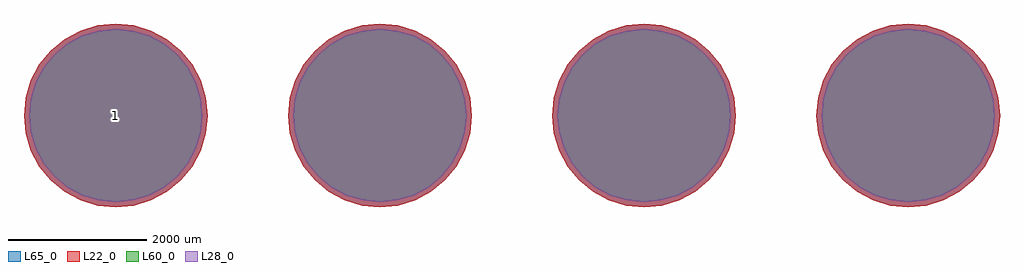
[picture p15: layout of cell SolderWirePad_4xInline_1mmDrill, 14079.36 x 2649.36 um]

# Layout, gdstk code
import gdstk
lib = gdstk.Library(unit=1e-6, precision=1e-09)
def P(c, l, *ps):  # polygons
    for p in ps: c.add(gdstk.Polygon(p, *l))
L22_0 = (22, 0)
L28_0 = (28, 0)
L60_0 = (60, 0)
L65_0 = (65, 0)

solderwirepad_4xinline_1 = lib.new_cell('SolderWirePad_4xInline_1mmDrill')
P(solderwirepad_4xinline_1, L22_0, [(7039.68,0),(7014.227,258.432),(6938.845,506.933),(6816.431,735.953),(6651.69,936.69),(6450.953,1101.431),(6221.933,1223.845),(5973.432,1299.227),(5715,1324.68),(5456.568,1299.227),(5208.067,1223.845),(4979.047,1101.431),(4778.31,936.69),(4613.569,735.953),(4491.155,506.933),(4415.773,258.432),(4390.32,0),(4415.773,-258.432),(4491.155,-506.933),(4613.569,-735.953),(4778.31,-936.69),(4979.047,-1101.431),(5208.067,-1223.845),(5456.568,-1299.227),(5715,-1324.68),(5973.432,-1299.227),(6221.933,-1223.845),(6450.953,-1101.431),(6651.69,-936.69),(6816.431,-735.953),(6938.845,-506.933),(7014.227,-258.432)],
  [(3229.68,0),(3204.227,258.432),(3128.845,506.933),(3006.431,735.953),(2841.69,936.69),(2640.953,1101.431),(2411.933,1223.845),(2163.432,1299.227),(1905,1324.68),(1646.568,1299.227),(1398.067,1223.845),(1169.047,1101.431),(968.31,936.69),(803.569,735.953),(681.155,506.933),(605.773,258.432),(580.32,0),(605.773,-258.432),(681.155,-506.933),(803.569,-735.953),(968.31,-936.69),(1169.047,-1101.431),(1398.067,-1223.845),(1646.568,-1299.227),(1905,-1324.68),(2163.432,-1299.227),(2411.933,-1223.845),(2640.953,-1101.431),(2841.69,-936.69),(3006.431,-735.953),(3128.845,-506.933),(3204.227,-258.432)],
  [(-580.32,0),(-605.773,258.432),(-681.155,506.933),(-803.569,735.953),(-968.31,936.69),(-1169.047,1101.431),(-1398.067,1223.845),(-1646.568,1299.227),(-1905,1324.68),(-2163.432,1299.227),(-2411.933,1223.845),(-2640.953,1101.431),(-2841.69,936.69),(-3006.431,735.953),(-3128.845,506.933),(-3204.227,258.432),(-3229.68,0),(-3204.227,-258.432),(-3128.845,-506.933),(-3006.431,-735.953),(-2841.69,-936.69),(-2640.953,-1101.431),(-2411.933,-1223.845),(-2163.432,-1299.227),(-1905,-1324.68),(-1646.568,-1299.227),(-1398.067,-1223.845),(-1169.047,-1101.431),(-968.31,-936.69),(-803.569,-735.953),(-681.155,-506.933),(-605.773,-258.432)],
  [(-4390.32,0),(-4415.773,258.432),(-4491.155,506.933),(-4613.569,735.953),(-4778.31,936.69),(-4979.047,1101.431),(-5208.067,1223.845),(-5456.568,1299.227),(-5715,1324.68),(-5973.432,1299.227),(-6221.933,1223.845),(-6450.953,1101.431),(-6651.69,936.69),(-6816.431,735.953),(-6938.845,506.933),(-7014.227,258.432),(-7039.68,0),(-7014.227,-258.432),(-6938.845,-506.933),(-6816.431,-735.953),(-6651.69,-936.69),(-6450.953,-1101.431),(-6221.933,-1223.845),(-5973.432,-1299.227),(-5715,-1324.68),(-5456.568,-1299.227),(-5208.067,-1223.845),(-4979.047,-1101.431),(-4778.31,-936.69),(-4613.569,-735.953),(-4491.155,-506.933),(-4415.773,-258.432)])
P(solderwirepad_4xinline_1, L28_0, [(6964.68,0),(6940.668,243.8),(6869.554,478.232),(6754.071,694.285),(6598.657,883.657),(6409.285,1039.071),(6193.232,1154.554),(5958.8,1225.668),(5715,1249.68),(5471.2,1225.668),(5236.768,1154.554),(5020.715,1039.071),(4831.343,883.657),(4675.929,694.285),(4560.446,478.232),(4489.332,243.8),(4465.32,0),(4489.332,-243.8),(4560.446,-478.232),(4675.929,-694.285),(4831.343,-883.657),(5020.715,-1039.071),(5236.768,-1154.554),(5471.2,-1225.668),(5715,-1249.68),(5958.8,-1225.668),(6193.232,-1154.554),(6409.285,-1039.071),(6598.657,-883.657),(6754.071,-694.285),(6869.554,-478.232),(6940.668,-243.8)],
  [(3154.68,0),(3130.668,243.8),(3059.554,478.232),(2944.071,694.285),(2788.657,883.657),(2599.285,1039.071),(2383.232,1154.554),(2148.8,1225.668),(1905,1249.68),(1661.2,1225.668),(1426.768,1154.554),(1210.715,1039.071),(1021.343,883.657),(865.929,694.285),(750.446,478.232),(679.332,243.8),(655.32,0),(679.332,-243.8),(750.446,-478.232),(865.929,-694.285),(1021.343,-883.657),(1210.715,-1039.071),(1426.768,-1154.554),(1661.2,-1225.668),(1905,-1249.68),(2148.8,-1225.668),(2383.232,-1154.554),(2599.285,-1039.071),(2788.657,-883.657),(2944.071,-694.285),(3059.554,-478.232),(3130.668,-243.8)],
  [(-655.32,0),(-679.332,243.8),(-750.446,478.232),(-865.929,694.285),(-1021.343,883.657),(-1210.715,1039.071),(-1426.768,1154.554),(-1661.2,1225.668),(-1905,1249.68),(-2148.8,1225.668),(-2383.232,1154.554),(-2599.285,1039.071),(-2788.657,883.657),(-2944.071,694.285),(-3059.554,478.232),(-3130.668,243.8),(-3154.68,0),(-3130.668,-243.8),(-3059.554,-478.232),(-2944.071,-694.285),(-2788.657,-883.657),(-2599.285,-1039.071),(-2383.232,-1154.554),(-2148.8,-1225.668),(-1905,-1249.68),(-1661.2,-1225.668),(-1426.768,-1154.554),(-1210.715,-1039.071),(-1021.343,-883.657),(-865.929,-694.285),(-750.446,-478.232),(-679.332,-243.8)],
  [(-4465.32,0),(-4489.332,243.8),(-4560.446,478.232),(-4675.929,694.285),(-4831.343,883.657),(-5020.715,1039.071),(-5236.768,1154.554),(-5471.2,1225.668),(-5715,1249.68),(-5958.8,1225.668),(-6193.232,1154.554),(-6409.285,1039.071),(-6598.657,883.657),(-6754.071,694.285),(-6869.554,478.232),(-6940.668,243.8),(-6964.68,0),(-6940.668,-243.8),(-6869.554,-478.232),(-6754.071,-694.285),(-6598.657,-883.657),(-6409.285,-1039.071),(-6193.232,-1154.554),(-5958.8,-1225.668),(-5715,-1249.68),(-5471.2,-1225.668),(-5236.768,-1154.554),(-5020.715,-1039.071),(-4831.343,-883.657),(-4675.929,-694.285),(-4560.446,-478.232),(-4489.332,-243.8)])
P(solderwirepad_4xinline_1, L60_0, [(6964.68,0),(6940.668,243.8),(6869.554,478.232),(6754.071,694.285),(6598.657,883.657),(6409.285,1039.071),(6193.232,1154.554),(5958.8,1225.668),(5715,1249.68),(5471.2,1225.668),(5236.768,1154.554),(5020.715,1039.071),(4831.343,883.657),(4675.929,694.285),(4560.446,478.232),(4489.332,243.8),(4465.32,0),(4489.332,-243.8),(4560.446,-478.232),(4675.929,-694.285),(4831.343,-883.657),(5020.715,-1039.071),(5236.768,-1154.554),(5471.2,-1225.668),(5715,-1249.68),(5958.8,-1225.668),(6193.232,-1154.554),(6409.285,-1039.071),(6598.657,-883.657),(6754.071,-694.285),(6869.554,-478.232),(6940.668,-243.8)],
  [(3154.68,0),(3130.668,243.8),(3059.554,478.232),(2944.071,694.285),(2788.657,883.657),(2599.285,1039.071),(2383.232,1154.554),(2148.8,1225.668),(1905,1249.68),(1661.2,1225.668),(1426.768,1154.554),(1210.715,1039.071),(1021.343,883.657),(865.929,694.285),(750.446,478.232),(679.332,243.8),(655.32,0),(679.332,-243.8),(750.446,-478.232),(865.929,-694.285),(1021.343,-883.657),(1210.715,-1039.071),(1426.768,-1154.554),(1661.2,-1225.668),(1905,-1249.68),(2148.8,-1225.668),(2383.232,-1154.554),(2599.285,-1039.071),(2788.657,-883.657),(2944.071,-694.285),(3059.554,-478.232),(3130.668,-243.8)],
  [(-655.32,0),(-679.332,243.8),(-750.446,478.232),(-865.929,694.285),(-1021.343,883.657),(-1210.715,1039.071),(-1426.768,1154.554),(-1661.2,1225.668),(-1905,1249.68),(-2148.8,1225.668),(-2383.232,1154.554),(-2599.285,1039.071),(-2788.657,883.657),(-2944.071,694.285),(-3059.554,478.232),(-3130.668,243.8),(-3154.68,0),(-3130.668,-243.8),(-3059.554,-478.232),(-2944.071,-694.285),(-2788.657,-883.657),(-2599.285,-1039.071),(-2383.232,-1154.554),(-2148.8,-1225.668),(-1905,-1249.68),(-1661.2,-1225.668),(-1426.768,-1154.554),(-1210.715,-1039.071),(-1021.343,-883.657),(-865.929,-694.285),(-750.446,-478.232),(-679.332,-243.8)],
  [(-4465.32,0),(-4489.332,243.8),(-4560.446,478.232),(-4675.929,694.285),(-4831.343,883.657),(-5020.715,1039.071),(-5236.768,1154.554),(-5471.2,1225.668),(-5715,1249.68),(-5958.8,1225.668),(-6193.232,1154.554),(-6409.285,1039.071),(-6598.657,883.657),(-6754.071,694.285),(-6869.554,478.232),(-6940.668,243.8),(-6964.68,0),(-6940.668,-243.8),(-6869.554,-478.232),(-6754.071,-694.285),(-6598.657,-883.657),(-6409.285,-1039.071),(-6193.232,-1154.554),(-5958.8,-1225.668),(-5715,-1249.68),(-5471.2,-1225.668),(-5236.768,-1154.554),(-5020.715,-1039.071),(-4831.343,-883.657),(-4675.929,-694.285),(-4560.446,-478.232),(-4489.332,-243.8)])
P(solderwirepad_4xinline_1, L65_0, [(7039.68,0),(7014.227,258.432),(6938.845,506.933),(6816.431,735.953),(6651.69,936.69),(6450.953,1101.431),(6221.933,1223.845),(5973.432,1299.227),(5715,1324.68),(5456.568,1299.227),(5208.067,1223.845),(4979.047,1101.431),(4778.31,936.69),(4613.569,735.953),(4491.155,506.933),(4415.773,258.432),(4390.32,0),(4415.773,-258.432),(4491.155,-506.933),(4613.569,-735.953),(4778.31,-936.69),(4979.047,-1101.431),(5208.067,-1223.845),(5456.568,-1299.227),(5715,-1324.68),(5973.432,-1299.227),(6221.933,-1223.845),(6450.953,-1101.431),(6651.69,-936.69),(6816.431,-735.953),(6938.845,-506.933),(7014.227,-258.432)],
  [(3229.68,0),(3204.227,258.432),(3128.845,506.933),(3006.431,735.953),(2841.69,936.69),(2640.953,1101.431),(2411.933,1223.845),(2163.432,1299.227),(1905,1324.68),(1646.568,1299.227),(1398.067,1223.845),(1169.047,1101.431),(968.31,936.69),(803.569,735.953),(681.155,506.933),(605.773,258.432),(580.32,0),(605.773,-258.432),(681.155,-506.933),(803.569,-735.953),(968.31,-936.69),(1169.047,-1101.431),(1398.067,-1223.845),(1646.568,-1299.227),(1905,-1324.68),(2163.432,-1299.227),(2411.933,-1223.845),(2640.953,-1101.431),(2841.69,-936.69),(3006.431,-735.953),(3128.845,-506.933),(3204.227,-258.432)],
  [(-580.32,0),(-605.773,258.432),(-681.155,506.933),(-803.569,735.953),(-968.31,936.69),(-1169.047,1101.431),(-1398.067,1223.845),(-1646.568,1299.227),(-1905,1324.68),(-2163.432,1299.227),(-2411.933,1223.845),(-2640.953,1101.431),(-2841.69,936.69),(-3006.431,735.953),(-3128.845,506.933),(-3204.227,258.432),(-3229.68,0),(-3204.227,-258.432),(-3128.845,-506.933),(-3006.431,-735.953),(-2841.69,-936.69),(-2640.953,-1101.431),(-2411.933,-1223.845),(-2163.432,-1299.227),(-1905,-1324.68),(-1646.568,-1299.227),(-1398.067,-1223.845),(-1169.047,-1101.431),(-968.31,-936.69),(-803.569,-735.953),(-681.155,-506.933),(-605.773,-258.432)],
  [(-4390.32,0),(-4415.773,258.432),(-4491.155,506.933),(-4613.569,735.953),(-4778.31,936.69),(-4979.047,1101.431),(-5208.067,1223.845),(-5456.568,1299.227),(-5715,1324.68),(-5973.432,1299.227),(-6221.933,1223.845),(-6450.953,1101.431),(-6651.69,936.69),(-6816.431,735.953),(-6938.845,506.933),(-7014.227,258.432),(-7039.68,0),(-7014.227,-258.432),(-6938.845,-506.933),(-6816.431,-735.953),(-6651.69,-936.69),(-6450.953,-1101.431),(-6221.933,-1223.845),(-5973.432,-1299.227),(-5715,-1324.68),(-5456.568,-1299.227),(-5208.067,-1223.845),(-4979.047,-1101.431),(-4778.31,-936.69),(-4613.569,-735.953),(-4491.155,-506.933),(-4415.773,-258.432)])
solderwirepad_4xinline_1.add(gdstk.Label('1', (-5715,0), layer=28, texttype=0))
solderwirepad_4xinline_1.add(gdstk.Label('type', (-635,-3175), layer=9, texttype=0))
solderwirepad_4xinline_1.add(gdstk.Label('devicename', (0,3175), layer=9, texttype=0))

lib.write_gds('SolderWirePad_4xInline_1mmDrill.gds')
